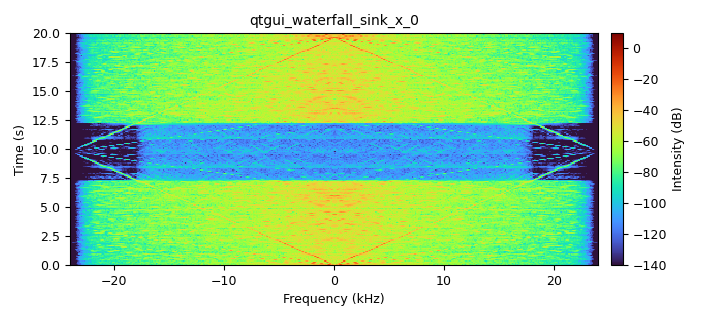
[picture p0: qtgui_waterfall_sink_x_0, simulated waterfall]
<?xml version='1.0' encoding='utf-8'?>
<?grc format='1' created='3.7.12'?>
<flow_graph>
<block>
<key>options</key>
<param><key>id</key><value>chirper</value></param>
<param><key>generate_options</key><value>qt_gui</value></param>
</block>
<block>
<key>variable</key>
<param><key>id</key><value>audio_interpolation</value></param>
<param><key>value</key><value>4</value></param>
</block>
<block>
<key>variable</key>
<param><key>id</key><value>audio_rate</value></param>
<param><key>value</key><value>48000</value></param>
</block>
<block>
<key>variable</key>
<param><key>id</key><value>deltaf</value></param>
<param><key>value</key><value>5000</value></param>
</block>
<block>
<key>variable</key>
<param><key>id</key><value>samp_rate</value></param>
<param><key>value</key><value>250000</value></param>
</block>
<block>
<key>variable</key>
<param><key>id</key><value>saw_amp</value></param>
<param><key>value</key><value>10</value></param>
</block>
<block>
<key>variable</key>
<param><key>id</key><value>saw_freq</value></param>
<param><key>value</key><value>100</value></param>
</block>
<block>
<key>variable</key>
<param><key>id</key><value>sensitivity</value></param>
<param><key>value</key><value>saw_amp*2*3.14159*(deltaf/saw_freq)</value></param>
</block>
<block>
<key>analog_frequency_modulator_fc</key>
<param><key>id</key><value>analog_frequency_modulator_fc_0</value></param>
<param><key>sensitivity</key><value>sensitivity</value></param>
</block>
<block>
<key>analog_sig_source_x</key>
<param><key>id</key><value>analog_sig_source_x_0</value></param>
<param><key>amp</key><value>saw_amp</value></param>
<param><key>freq</key><value>saw_freq</value></param>
<param><key>offset</key><value>0</value></param>
<param><key>type</key><value>float</value></param>
<param><key>samp_rate</key><value>samp_rate</value></param>
<param><key>waveform</key><value>analog.GR_SAW_WAVE</value></param>
</block>
<block>
<key>analog_wfm_rcv</key>
<param><key>id</key><value>analog_wfm_rcv_0</value></param>
<param><key>audio_decimation</key><value>audio_interpolation</value></param>
<param><key>quad_rate</key><value>audio_rate*audio_interpolation</value></param>
</block>
<block>
<key>analog_wfm_tx</key>
<param><key>id</key><value>analog_wfm_tx_0</value></param>
<param><key>audio_rate</key><value>audio_rate</value></param>
<param><key>max_dev</key><value>75e3</value></param>
<param><key>fh</key><value>-1.0</value></param>
<param><key>quad_rate</key><value>audio_rate*audio_interpolation</value></param>
<param><key>tau</key><value>75e-6</value></param>
</block>
<block>
<key>blocks_complex_to_float</key>
<param><key>id</key><value>blocks_complex_to_float_0</value></param>
</block>
<block>
<key>blocks_throttle</key>
<param><key>id</key><value>blocks_throttle_0</value></param>
<param><key>samples_per_second</key><value>samp_rate</value></param>
<param><key>type</key><value>complex</value></param>
</block>
<block>
<key>qtgui_waterfall_sink_x</key>
<param><key>id</key><value>qtgui_waterfall_sink_x_0</value></param>
<param><key>bw</key><value>audio_rate</value></param>
<param><key>fc</key><value>0</value></param>
<param><key>fftsize</key><value>1024</value></param>
<param><key>showports</key><value>True</value></param>
<param><key>type</key><value>float</value></param>
<param><key>update_time</key><value>.1</value></param>
<param><key>wintype</key><value>firdes.WIN_BLACKMAN_hARRIS</value></param>
</block>
<block>
<key>rational_resampler_xxx</key>
<param><key>id</key><value>rational_resampler_xxx_0</value></param>
<param><key>decim</key><value>audio_rate*audio_interpolation</value></param>
<param><key>interp</key><value>samp_rate</value></param>
<param><key>taps</key><value></value></param>
<param><key>type</key><value>ccc</value></param>
</block>
<block>
<key>rational_resampler_xxx</key>
<param><key>id</key><value>rational_resampler_xxx_1</value></param>
<param><key>decim</key><value>samp_rate</value></param>
<param><key>interp</key><value>audio_rate*audio_interpolation</value></param>
<param><key>taps</key><value></value></param>
<param><key>type</key><value>ccc</value></param>
</block>
<connection><source_block_id>analog_frequency_modulator_fc_0</source_block_id><sink_block_id>blocks_complex_to_float_0</sink_block_id><source_key>0</source_key><sink_key>0</sink_key></connection>
<connection><source_block_id>analog_sig_source_x_0</source_block_id><sink_block_id>analog_frequency_modulator_fc_0</sink_block_id><source_key>0</source_key><sink_key>0</sink_key></connection>
<connection><source_block_id>analog_wfm_rcv_0</source_block_id><sink_block_id>qtgui_waterfall_sink_x_0</sink_block_id><source_key>0</source_key><sink_key>0</sink_key></connection>
<connection><source_block_id>analog_wfm_tx_0</source_block_id><sink_block_id>rational_resampler_xxx_0</sink_block_id><source_key>0</source_key><sink_key>0</sink_key></connection>
<connection><source_block_id>blocks_complex_to_float_0</source_block_id><sink_block_id>analog_wfm_tx_0</sink_block_id><source_key>0</source_key><sink_key>0</sink_key></connection>
<connection><source_block_id>blocks_throttle_0</source_block_id><sink_block_id>rational_resampler_xxx_1</sink_block_id><source_key>0</source_key><sink_key>0</sink_key></connection>
<connection><source_block_id>rational_resampler_xxx_0</source_block_id><sink_block_id>blocks_throttle_0</sink_block_id><source_key>0</source_key><sink_key>0</sink_key></connection>
<connection><source_block_id>rational_resampler_xxx_1</source_block_id><sink_block_id>analog_wfm_rcv_0</sink_block_id><source_key>0</source_key><sink_key>0</sink_key></connection>
</flow_graph>
